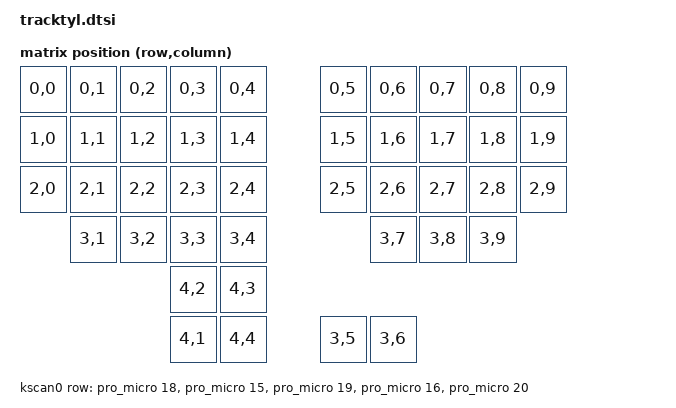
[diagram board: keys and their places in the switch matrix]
#include <dt-bindings/zmk/matrix_transform.h>

/ {
    chosen {
        zmk,kscan = &kscan0;
        zmk,matrix_transform = &default_transform;
    };

    default_transform: keymap_transform_0 {
        compatible = "zmk,matrix-transform";
        columns = <10>;
        rows = <5>;
		// | SW5  | SW4  | SW3  | SW2  | SW1  |                 | SW1  | SW2  | SW3  | SW4  | SW5  |
		// | SW11 | SW10 | SW9  | SW8  | SW7  |                 | SW7  | SW8  | SW9  | SW10 | SW11 |
		// | SW17 | SW16 | SW15 | SW14 | SW13 |                 | SW13 | SW14 | SW15 | SW16 | SW17 |
		// 		  | SW21 | SW20 | SW19 | SW25 |   				| SW25 | SW19 | SW20 |
		//        | SW29 | SW28 | SW27 | SW26 |   				| SW26 |
        map = <
			RC(0,0) RC(0,1) RC(0,2) RC(0,3) RC(0,4) 			RC(0,5) RC(0,6) RC(0,7) RC(0,8) RC(0,9)
			RC(1,0) RC(1,1) RC(1,2) RC(1,3) RC(1,4)			 	RC(1,5) RC(1,6) RC(1,7) RC(1,8) RC(1,9)
			RC(2,0) RC(2,1) RC(2,2) RC(2,3) RC(2,4) 			RC(2,5) RC(2,6) RC(2,7) RC(2,8) RC(2,9)
					RC(3,1) RC(3,2) RC(3,3) RC(3,4) 					RC(3,7) RC(3,8) RC(3,9)
									RC(4,2) RC(4,3)				
									RC(4,1) RC(4,4)				RC(3,5) RC(3,6)
		>;
    };

    kscan0: kscan {
        compatible = "zmk,kscan-gpio-matrix";
        label = "KSCAN";

        diode-direction = "col2row";
        row-gpios
            = <&pro_micro 18 (GPIO_ACTIVE_HIGH | GPIO_PULL_DOWN)> // Row B from the schematic file
            , <&pro_micro 15 (GPIO_ACTIVE_HIGH | GPIO_PULL_DOWN)> // Row C from the schematic file
            , <&pro_micro 19 (GPIO_ACTIVE_HIGH | GPIO_PULL_DOWN)> // Row D from the schematic file
            , <&pro_micro 16 (GPIO_ACTIVE_HIGH | GPIO_PULL_DOWN)> // Row E from the schematic file
            , <&pro_micro 20 (GPIO_ACTIVE_HIGH | GPIO_PULL_DOWN)> // Row E from the schematic file
			;

    };
	
	 /* Configure trackballs (either split can have the trackball) */
	trackballs {
		compatible = "zmk,keymap-trackballs";
		trackballs = <&trackball>;
	};

	/* Declare the trackball */
	&spi2 {
		compatible = "nordic,nrf-spim";

		trackball: trackball@0 {
			compatible = "pixart,pmw3610";
			status = "disabled";
			reg = <0>;
			label = "TRACKBALL";
			spi-max-frequency = <2000000>;
			duplex = <2048>; // required by 3-wire spi
	};
};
